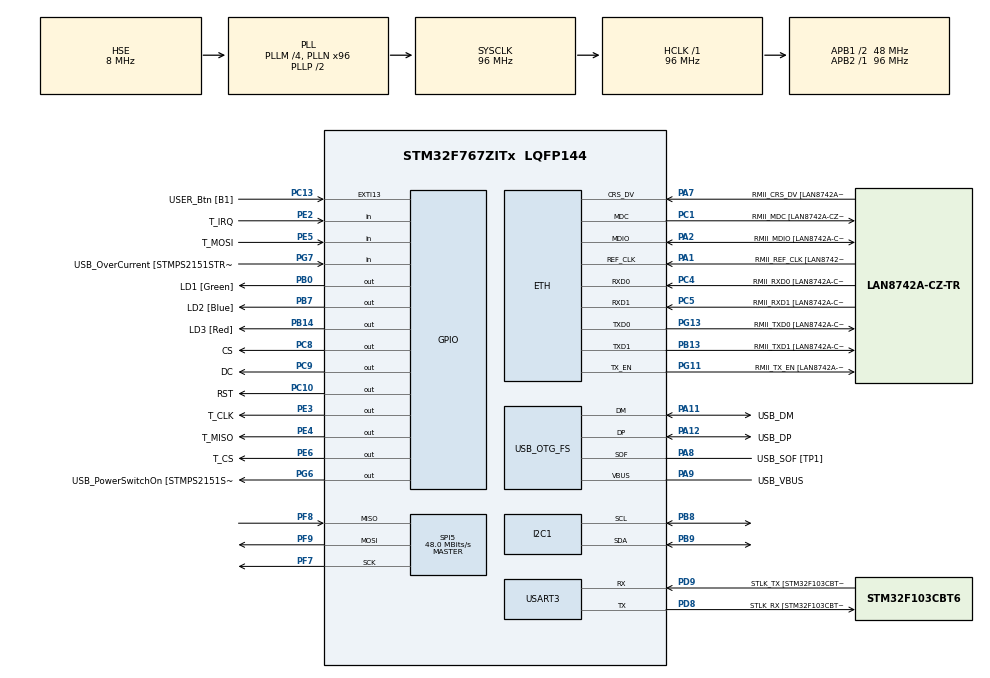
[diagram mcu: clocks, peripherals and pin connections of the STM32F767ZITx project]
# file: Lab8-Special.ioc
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CORTEX_M7.ART_ACCELERATOR_ENABLE=1
CORTEX_M7.CPU_DCache=Enabled
CORTEX_M7.CPU_ICache=Enabled
CORTEX_M7.PREFETCH_ENABLE=1
ETH.MediaInterface=HAL_ETH_RMII_MODE
ETH.PHY_Name=LAN8742A_PHY_ADDRESS
ETH.PHY_Value=0
ETH.PhyAddress=0
I2C1.Timing=0x20303E5D
Mcu.Family=STM32F7
Mcu.Name=STM32F767ZITx
Mcu.Package=LQFP144
NVIC.PriorityGroup=NVIC_PRIORITYGROUP_3
NVIC.TIM2_IRQn=true\:1\:0\:true\:false\:true\:true\:true\:true
PA1.GPIO_Label=RMII_REF_CLK [LAN8742A-CZ-TR_REFCLK0]
PA1.Mode=RMII
PA1.Signal=ETH_REF_CLK
PA10.GPIO_Label=USB_ID
PA10.Signal=USB_OTG_FS_ID
PA11.GPIO_Label=USB_DM
PA11.Mode=Device_Only
PA11.Signal=USB_OTG_FS_DM
PA12.GPIO_Label=USB_DP
PA12.Mode=Device_Only
PA12.Signal=USB_OTG_FS_DP
PA13.GPIO_Label=TMS
PA13.Mode=Serial_Wire
PA13.Signal=SYS_JTMS-SWDIO
PA14.GPIO_Label=TCK
PA14.Mode=Serial_Wire
PA14.Signal=SYS_JTCK-SWCLK
PA2.GPIO_Label=RMII_MDIO [LAN8742A-CZ-TR_MDIO]
PA2.Mode=RMII
PA2.Signal=ETH_MDIO
PA6.Signal=ADCx_IN6
PA7.GPIO_Label=RMII_CRS_DV [LAN8742A-CZ-TR_CRS_DV]
PA7.Mode=RMII
PA7.Signal=ETH_CRS_DV
PA8.GPIO_Label=USB_SOF [TP1]
PA8.Mode=Activate_SOF_FS
PA8.Signal=USB_OTG_FS_SOF
PA9.GPIO_Label=USB_VBUS
PA9.Mode=Activate_VBUS
PA9.Signal=USB_OTG_FS_VBUS
PB0.GPIO_Label=LD1 [Green]
PB0.Signal=GPIO_Output
PB13.GPIO_Label=RMII_TXD1 [LAN8742A-CZ-TR_TXD1]
PB13.Mode=RMII
PB13.Signal=ETH_TXD1
PB14.GPIO_Label=LD3 [Red]
PB14.Signal=GPIO_Output
PB3.GPIO_Label=SWO
PB3.Signal=SYS_JTDO-SWO
PB7.GPIO_Label=LD2 [Blue]
PB7.Signal=GPIO_Output
PB8.Mode=I2C
PB8.Signal=I2C1_SCL
PB9.Mode=I2C
PB9.Signal=I2C1_SDA
PC1.GPIO_Label=RMII_MDC [LAN8742A-CZ-TR_MDC]
PC1.Mode=RMII
PC1.Signal=ETH_MDC
PC10.GPIO_Label=RST
PC10.Signal=GPIO_Output
PC13.GPIO_Label=USER_Btn [B1]
PC13.Signal=GPXTI13
PC14/OSC32_IN.Mode=LSE-External-Oscillator
PC14/OSC32_IN.Signal=RCC_OSC32_IN
PC15/OSC32_OUT.Mode=LSE-External-Oscillator
PC15/OSC32_OUT.Signal=RCC_OSC32_OUT
PC4.GPIO_Label=RMII_RXD0 [LAN8742A-CZ-TR_RXD0]
PC4.Mode=RMII
PC4.Signal=ETH_RXD0
PC5.GPIO_Label=RMII_RXD1 [LAN8742A-CZ-TR_RXD1]
PC5.Mode=RMII
PC5.Signal=ETH_RXD1
PC8.GPIO_Label=CS
PC8.Signal=GPIO_Output
PC9.GPIO_Label=DC
PC9.Signal=GPIO_Output
PD8.GPIO_Label=STLK_RX [STM32F103CBT6_PA3]
PD8.Mode=Asynchronous
PD8.Signal=USART3_TX
PD9.GPIO_Label=STLK_TX [STM32F103CBT6_PA2]
PD9.Mode=Asynchronous
PD9.Signal=USART3_RX
PE2.GPIO_Label=T_IRQ
PE2.Signal=GPIO_Input
PE3.GPIO_Label=T_CLK
PE3.Signal=GPIO_Output
PE4.GPIO_Label=T_MISO
PE4.Signal=GPIO_Output
PE5.GPIO_Label=T_MOSI
PE5.Signal=GPIO_Input
PE6.GPIO_Label=T_CS
PE6.Signal=GPIO_Output
PF7.Mode=Full_Duplex_Master
PF7.Signal=SPI5_SCK
PF8.Mode=Full_Duplex_Master
PF8.Signal=SPI5_MISO
PF9.Mode=Full_Duplex_Master
PF9.Signal=SPI5_MOSI
PG11.GPIO_Label=RMII_TX_EN [LAN8742A-CZ-TR_TXEN]
PG11.Mode=RMII
PG11.Signal=ETH_TX_EN
PG13.GPIO_Label=RMII_TXD0 [LAN8742A-CZ-TR_TXD0]
PG13.Mode=RMII
PG13.Signal=ETH_TXD0
PG6.GPIO_Label=USB_PowerSwitchOn [STMPS2151STR_EN]
PG6.Signal=GPIO_Output
PG7.GPIO_Label=USB_OverCurrent [STMPS2151STR_FAULT]
PG7.Signal=GPIO_Input
PH0/OSC_IN.GPIO_Label=MCO [STM32F103CBT6_PA8]
PH0/OSC_IN.Mode=HSE-External-Clock-Source
PH0/OSC_IN.Signal=RCC_OSC_IN
PH1/OSC_OUT.Mode=HSE-External-Clock-Source
PH1/OSC_OUT.Signal=RCC_OSC_OUT
ProjectManager.HeapSize=0x200
ProjectManager.StackSize=0x400
ProjectManager.TargetToolchain=CMake
RCC.48MHZClocksFreq_Value=24000000
RCC.AHBFreq_Value=96000000
RCC.APB1CLKDivider=RCC_HCLK_DIV2
RCC.APB1Freq_Value=48000000
RCC.APB1TimFreq_Value=96000000
RCC.APB2Freq_Value=96000000
RCC.APB2TimFreq_Value=96000000
RCC.CortexFreq_Value=96000000
RCC.HCLKFreq_Value=96000000
RCC.HSE_VALUE=8000000
RCC.HSI_VALUE=16000000
RCC.PLLM=4
RCC.PLLMUL=RCC_PLL_MUL9
RCC.PLLN=96
RCC.PLLQ=4
RCC.PRESCALERUSB=RCC_USBCLKSOURCE_PLL_DIV1_5
RCC.SYSCLKFreq_VALUE=96000000
RCC.SYSCLKSource=RCC_SYSCLKSOURCE_PLLCLK
RCC.SYSCLKSourceVirtual=RCC_SYSCLKSOURCE_PLLCLK
RCC.USBFreq_Value=48000000
RCC.VCOOutputFreq_Value=192000000
SH.ADCx_IN6.0=ADC1_IN6
SPI5.CalculateBaudRate=48.0 MBits/s
SPI5.DataSize=SPI_DATASIZE_8BIT
SPI5.Direction=SPI_DIRECTION_2LINES
SPI5.Mode=SPI_MODE_MASTER
SPI5.NSSPMode=SPI_NSS_PULSE_DISABLE
SPI5.VirtualType=VM_MASTER
TIM1.ClockDivision=TIM_CLOCKDIVISION_DIV2
TIM1.Period=0
TIM1.Prescaler=10000-1
TIM2.AutoReloadPreload=TIM_AUTORELOAD_PRELOAD_ENABLE
TIM2.Period=5000000-1
TIM2.Prescaler=108-1
USART3.VirtualMode-Asynchronous=VM_ASYNC
USB_OTG_FS.VirtualMode=Device_Only
VP_RNG_VS_RNG.Mode=RNG_Activate
VP_TIM1_VS_ClockSourceINT.Mode=Internal
VP_TIM2_VS_ClockSourceINT.Mode=Internal
board=NUCLEO-F767ZI

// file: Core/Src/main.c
/* USER CODE BEGIN Header */
/**
 ******************************************************************************
 * @file           : main.c
 * @brief          : Main program body
 ******************************************************************************
 * @attention
 *
 * Copyright (c) 2025 STMicroelectronics.
 * All rights reserved.
 *
 * This software is licensed under terms that can be found in the LICENSE file
 * in the root directory of this software component.
 * If no LICENSE file comes with this software, it is provided AS-IS.
 *
 ******************************************************************************
 */
/* USER CODE END Header */
#include "main.h"
#include "string.h"

/* USER CODE BEGIN Includes */

#include <stdint.h>
#include <stdio.h>
#include <string.h>

#include "ILI9341_GFX.h"
#include "ILI9341_STM32_Driver.h"
#include "ILI9341_Touchscreen.h"

#include "image.h"

/* USER CODE END Includes */

/* USER CODE BEGIN PD */

#define LIGHT_RED 0b1111110011010011
#define LIGHT_GREEN 0b1001111111110011
#define LIGHT_BLUE 0b1001110011011111

#define ADC1_VALUES_COUNT 1

/* USER CODE END PD */

#if defined ( __ICCARM__ ) /*!< IAR Compiler */
#pragma location=0x2007c000
ETH_DMADescTypeDef  DMARxDscrTab[ETH_RX_DESC_CNT]; /* Ethernet Rx DMA Descriptors */
#pragma location=0x2007c0a0
ETH_DMADescTypeDef  DMATxDscrTab[ETH_TX_DESC_CNT]; /* Ethernet Tx DMA Descriptors */

#elif defined ( __CC_ARM )  /* MDK ARM Compiler */

__attribute__((at(0x2007c000))) ETH_DMADescTypeDef  DMARxDscrTab[ETH_RX_DESC_CNT]; /* Ethernet Rx DMA Descriptors */
__attribute__((at(0x2007c0a0))) ETH_DMADescTypeDef  DMATxDscrTab[ETH_TX_DESC_CNT]; /* Ethernet Tx DMA Descriptors */

#elif defined ( __GNUC__ ) /* GNU Compiler */

ETH_DMADescTypeDef DMARxDscrTab[ETH_RX_DESC_CNT] __attribute__((section(".RxDecripSection"))); /* Ethernet Rx DMA Descriptors */
ETH_DMADescTypeDef DMATxDscrTab[ETH_TX_DESC_CNT] __attribute__((section(".TxDecripSection")));   /* Ethernet Tx DMA Descriptors */
#endif

ETH_TxPacketConfig TxConfig;

ETH_HandleTypeDef heth;

I2C_HandleTypeDef hi2c1;

RNG_HandleTypeDef hrng;

SPI_HandleTypeDef hspi5;

TIM_HandleTypeDef htim1;
TIM_HandleTypeDef htim2;

UART_HandleTypeDef huart3;

PCD_HandleTypeDef hpcd_USB_OTG_FS;

/* USER CODE BEGIN PV */

uint16_t posX = 0;
uint16_t posY = 0;
uint16_t position_array[2];

float redSaturation = 0;
float greenSaturation = 0;
float blueSaturation = 0;
uint16_t mixedColor = 0x0000;

uint8_t redValue = 0;
uint8_t greenValue = 0;
uint8_t blueValue = 0;

char temperaturePattern[] = "%.1fC";
char relHumidityPattern[] = "%.1f%%RH";
char saturationPattern[] = "%03d%%";
char temperatureBuffer[32] = "\0";
char relHumidityBuffer[32] = "\0";
char redSaturationBuffer[32] = "\0";
char greenSaturationBuffer[32] = "\0";
char blueSaturationBuffer[32] = "\0";

float h = 99;
float t = 99;
float hPrev = 0;
float tPrev = 0;
uint8_t cmd_buffer[3];
uint8_t data_buffer[8];
char environmentStringBuffer[64] = "\0";

uint8_t screen = 0;

char infoScreenLine1[] = "Group #38";
char infoScreenLine2[] = "Phuwit";
char infoScreenLine3[] = "Puthipairoj";
char infoScreenLine4[] = "66010648";

uint32_t adc1Values[ADC1_VALUES_COUNT];

float brightness;

/* USER CODE END PV */

void SystemClock_Config(void);
static void MX_GPIO_Init(void);
static void MX_ETH_Init(void);
static void MX_RNG_Init(void);
static void MX_SPI5_Init(void);
static void MX_TIM1_Init(void);
static void MX_USART3_UART_Init(void);
static void MX_USB_OTG_FS_PCD_Init(void);
static void MX_I2C1_Init(void);
static void MX_TIM2_Init(void);

/* USER CODE BEGIN 0 */

void mixColor() {
  redValue = 0b11111;
  greenValue = 0b111111;
  blueValue = 0b11111;

  redValue = (uint8_t)(redValue * redSaturation);
  greenValue = (uint8_t)(greenValue * greenSaturation);
  blueValue = (uint8_t)(blueValue * blueSaturation);

  mixedColor = (uint16_t)(blueValue);
  mixedColor |= (greenValue << 5);
  mixedColor |= (redValue << 11);
}

uint16_t CRC16_2(uint8_t *ptr, uint8_t length) {
  uint16_t crc = 0xFFFF;
  uint8_t s = 0x00;

  while (length--) {
    crc ^= *ptr++;
    for (s = 0; s < 8; s++) {
      if ((crc & 0x01) != 0) {
        crc >>= 1;
        crc ^= 0xA001;
      } else
        crc >>= 1;
    }
  }

  return crc;
}

void initializeScreen0() {
  ILI9341_Fill_Screen(WHITE);

  ILI9341_Set_Rotation(SCREEN_HORIZONTAL_1);

  ILI9341_Draw_Filled_Circle(120, 48, 24, mixedColor);

  ILI9341_Draw_Filled_Circle(32, 112, 20, RED);
  ILI9341_Draw_Filled_Circle(32, 112 + 48, 20, GREEN);
  ILI9341_Draw_Filled_Circle(32, 112 + (48 * 2), 20, BLUE);

  ILI9341_Draw_Rectangle(64, 188, 100, 40, LIGHT_BLUE);
  ILI9341_Draw_Rectangle(64, 188, (uint16_t)(100 * blueSaturation), 40, BLUE);
  ILI9341_Draw_Rectangle(64, 140, 100, 40, LIGHT_GREEN);
  ILI9341_Draw_Rectangle(64, 140, (uint16_t)(100 * greenSaturation), 40, GREEN);
  ILI9341_Draw_Rectangle(64, 92, 100, 40, LIGHT_RED);
  ILI9341_Draw_Rectangle(64, 92, (uint16_t)(100 * redSaturation), 40, RED);
  sprintf(blueSaturationBuffer, saturationPattern,
          (uint8_t)(blueSaturation * 100));
  ILI9341_Draw_Text(blueSaturationBuffer, 180, 196, BLACK, 2, WHITE);
  sprintf(greenSaturationBuffer, saturationPattern,
          (uint8_t)(greenSaturation * 100));
  ILI9341_Draw_Text(greenSaturationBuffer, 180, 148, BLACK, 2, WHITE);
  sprintf(redSaturationBuffer, saturationPattern,
          (uint8_t)(redSaturation * 100));
  ILI9341_Draw_Text(redSaturationBuffer, 180, 100, BLACK, 2, WHITE);
}

// void updateBrightness() {
//   brightness =
//       (((float)adc1Values[0] / (float)(uint32_t)0x00000fff) * 0.8f) + 0.2f;

//   htim3.Instance->CCR1 = (10000 - 1) * brightness;
// }
/* USER CODE END 0 */

int main(void)
{

  /* Enable the CPU Cache */

  /* Enable I-Cache---------------------------------------------------------*/
  SCB_EnableICache();

  /* Enable D-Cache---------------------------------------------------------*/
  SCB_EnableDCache();

  /* MCU Configuration--------------------------------------------------------*/

  /* Reset of all peripherals, Initializes the Flash interface and the Systick. */
  HAL_Init();

  /* Configure the system clock */
  SystemClock_Config();

  /* Initialize all configured peripherals */
  MX_GPIO_Init();
  MX_ETH_Init();
  MX_RNG_Init();
  MX_SPI5_Init();
  MX_TIM1_Init();
  MX_USART3_UART_Init();
  MX_USB_OTG_FS_PCD_Init();
  MX_I2C1_Init();
  MX_TIM2_Init();
  /* USER CODE BEGIN 2 */

  // HAL_ADC_Start_DMA(&hadc1, (uint32_t *)adc1Values, ADC1_VALUES_COUNT);

  cmd_buffer[0] = 0x03;
  cmd_buffer[1] = 0x00;
  cmd_buffer[2] = 0x04;

  ILI9341_Init(); // initial driver setup to drive ili9341

  initializeScreen0();

  /* USER CODE END 2 */

  /* Infinite loop */
  while (1) {

    /* USER CODE BEGIN 3 */

    if (screen == 0) {
      //	  HAL_Delay(5000);
      HAL_I2C_Master_Transmit(&hi2c1, 0x5c << 1, cmd_buffer, 3, 200);
      //	  HAL_Delay(5);
      HAL_I2C_Master_Transmit(&hi2c1, 0x5c << 1, cmd_buffer, 3, 200);
      HAL_Delay(5);
      HAL_I2C_Master_Receive(&hi2c1, 0x5c << 1, data_buffer, 8, 200);
      uint16_t Rcrc = data_buffer[7] << 8;
      Rcrc += data_buffer[6];

      hPrev = h;
      tPrev = t;

      if (Rcrc == CRC16_2(data_buffer, 6)) {
        uint16_t temperature = ((data_buffer[4] & 0x7F) << 8) + data_buffer[5];
        t = temperature / 10.0;
        t = (((data_buffer[4] & 0x80) >> 7) == 1) ? (t * (-1)) : t;
        uint16_t humidity = (data_buffer[2] << 8) + data_buffer[3];
        h = humidity / 10.0;
      }

      // sprintf(environmentStringBuffer,
      //         "Temperature = %4.1f\tHumidity = %4.1f\n\r", t, h);
      // HAL_UART_Transmit(&huart3, (uint8_t *)environmentStringBuffer,
      //                   strlen(environmentStringBuffer), 200);
      // sprintf(environmentStringBuffer, "raw data: ");
      // for (int i = 0; i < 8; i++) {
      //   char byteStr[6];
      //   sprintf(byteStr, "%02X ", data_buffer[i]);
      //   strcat(environmentStringBuffer, byteStr);
      // }
      // strcat(environmentStringBuffer, "\n\r");
      // HAL_UART_Transmit(&huart3, (uint8_t *)environmentStringBuffer,
      //                   strlen(environmentStringBuffer), 200);

      ILI9341_Set_Rotation(SCREEN_HORIZONTAL_1);
      if (tPrev != t) {
        sprintf(temperatureBuffer, temperaturePattern, (float)t);
        ILI9341_Draw_Text(temperatureBuffer, 16, 40, BLACK, 2, WHITE);
      }
      if (hPrev != h) {
        sprintf(relHumidityBuffer, relHumidityPattern, (float)h);
        ILI9341_Draw_Text(relHumidityBuffer, 160, 40, BLACK, 2, WHITE);
      }

      ILI9341_Set_Rotation(SCREEN_VERTICAL_1);
      if (TP_Touchpad_Pressed()) {
        if (TP_Read_Coordinates(position_array) == TOUCHPAD_DATA_OK) {
          posX = position_array[0];
          posY = position_array[1];

          // ILI9341_Set_Rotation(SCREEN_HORIZONTAL_1);
          // char counter_buff[30];
          // sprintf(counter_buff, "POS X: %.3d", posX);
          // ILI9341_Draw_Text(counter_buff, 10, 0, BLACK, 2, WHITE);
          // sprintf(counter_buff, "POS Y: %.3d", posY);
          // ILI9341_Draw_Text(counter_buff, 10, 16, BLACK, 2, WHITE);
          // ILI9341_Set_Rotation(SCREEN_VERTICAL_1);

          ILI9341_Set_Rotation(SCREEN_HORIZONTAL_1);
          if ((posX >= 12 && posX <= 52) && (posY >= 16 && posY <= 56)) {
            blueSaturation += 0.1;
            if (blueSaturation > 1.01)
              blueSaturation = 0;
            sprintf(blueSaturationBuffer, saturationPattern,
                    (uint8_t)(blueSaturation * 100));
            ILI9341_Draw_Rectangle(64, 188, 100, 40, LIGHT_BLUE);
            ILI9341_Draw_Rectangle(64, 188, (uint16_t)(100 * blueSaturation),
                                   40, BLUE);
            ILI9341_Draw_Text(blueSaturationBuffer, 180, 196, BLACK, 2, WHITE);
          }
          if ((posX >= 60 && posX <= 100) && (posY >= 16 && posY <= 56)) {
            greenSaturation += 0.1;
            if (greenSaturation > 1.01)
              greenSaturation = 0;
            sprintf(greenSaturationBuffer, saturationPattern,
                    (uint8_t)(greenSaturation * 100));
            ILI9341_Draw_Rectangle(64, 140, 100, 40, LIGHT_GREEN);
            ILI9341_Draw_Rectangle(64, 140, (uint16_t)(100 * greenSaturation),
                                   40, GREEN);
            ILI9341_Draw_Text(greenSaturationBuffer, 180, 148, BLACK, 2, WHITE);
          }
          if ((posX >= 110 && posX <= 150) && (posY >= 16 && posY <= 56)) {
            redSaturation += 0.1;
            if (redSaturation > 1.01)
              redSaturation = 0;
            sprintf(redSaturationBuffer, saturationPattern,
                    (uint8_t)(redSaturation * 100));
            ILI9341_Draw_Rectangle(64, 92, 100, 40, LIGHT_RED);
            ILI9341_Draw_Rectangle(64, 92, (uint16_t)(100 * redSaturation), 40,
                                   RED);
            ILI9341_Draw_Text(redSaturationBuffer, 180, 100, BLACK, 2, WHITE);
          }
          if ((posX >= 172 && posX <= 220) && (posY >= 96 && posY <= 144)) {
            screen = 1;
            continue;
          }

          mixColor();
          ILI9341_Draw_Filled_Circle(120, 48, 24, mixedColor);
        }
      }

    } else if (screen == 1) {
      ILI9341_Set_Rotation(SCREEN_HORIZONTAL_1);

      ILI9341_Draw_Image(CHILL_GUY, SCREEN_HORIZONTAL_1);

      ILI9341_Draw_Text(infoScreenLine1, 144, 64 + (32 * 0), mixedColor, 2,
                        WHITE);
      ILI9341_Draw_Text(infoScreenLine2, 144, 64 + (32 * 1), mixedColor, 2,
                        WHITE);
      ILI9341_Draw_Text(infoScreenLine3, 144, 64 + (32 * 2), mixedColor, 2,
                        WHITE);
      ILI9341_Draw_Text(infoScreenLine4, 144, 64 + (32 * 3), mixedColor, 2,
                        WHITE);

      HAL_TIM_Base_Start_IT(&htim2);

      while (screen == 1) {
        if (TP_Read_Coordinates(position_array) == TOUCHPAD_DATA_OK) {
          posX = position_array[0];
          posY = position_array[1];

          // ILI9341_Set_Rotation(SCREEN_HORIZONTAL_1);
          // char counter_buff[30];
          // sprintf(counter_buff, "POS X: %.3d", posX);
          // ILI9341_Draw_Text(counter_buff, 10, 0, BLACK, 2, WHITE);
          // sprintf(counter_buff, "POS Y: %.3d", posY);
          // ILI9341_Draw_Text(counter_buff, 10, 16, BLACK, 2, WHITE);
          // ILI9341_Set_Rotation(SCREEN_VERTICAL_1);

          if ((posX >= 28 && posX <= 226) && (posY >= 16 && posY <= 134)) {
            screen = 0;
            initializeScreen0();
            break;
          }
        }
      }

      // screen = 0;
      // initializeScreen0();
    }

    // HAL_Delay(200);
  }
  /* USER CODE END 3 */
}

void SystemClock_Config(void)
{
  RCC_OscInitTypeDef RCC_OscInitStruct = {0};
  RCC_ClkInitTypeDef RCC_ClkInitStruct = {0};

  /** Configure LSE Drive Capability
  */
  HAL_PWR_EnableBkUpAccess();

  /** Configure the main internal regulator output voltage
  */
  __HAL_RCC_PWR_CLK_ENABLE();
  __HAL_PWR_VOLTAGESCALING_CONFIG(PWR_REGULATOR_VOLTAGE_SCALE3);

  /** Initializes the RCC Oscillators according to the specified parameters
  * in the RCC_OscInitTypeDef structure.
  */
  RCC_OscInitStruct.OscillatorType = RCC_OSCILLATORTYPE_HSE;
  RCC_OscInitStruct.HSEState = RCC_HSE_BYPASS;
  RCC_OscInitStruct.PLL.PLLState = RCC_PLL_ON;
  RCC_OscInitStruct.PLL.PLLSource = RCC_PLLSOURCE_HSE;
  RCC_OscInitStruct.PLL.PLLM = 4;
  RCC_OscInitStruct.PLL.PLLN = 96;
  RCC_OscInitStruct.PLL.PLLP = RCC_PLLP_DIV2;
  RCC_OscInitStruct.PLL.PLLQ = 4;
  RCC_OscInitStruct.PLL.PLLR = 2;
  if (HAL_RCC_OscConfig(&RCC_OscInitStruct) != HAL_OK)
  {
    Error_Handler();
  }

  /** Activate the Over-Drive mode
  */
  if (HAL_PWREx_EnableOverDrive() != HAL_OK)
  {
    Error_Handler();
  }

  /** Initializes the CPU, AHB and APB buses clocks
  */
  RCC_ClkInitStruct.ClockType = RCC_CLOCKTYPE_HCLK|RCC_CLOCKTYPE_SYSCLK
                              |RCC_CLOCKTYPE_PCLK1|RCC_CLOCKTYPE_PCLK2;
  RCC_ClkInitStruct.SYSCLKSource = RCC_SYSCLKSOURCE_PLLCLK;
  RCC_ClkInitStruct.AHBCLKDivider = RCC_SYSCLK_DIV1;
  RCC_ClkInitStruct.APB1CLKDivider = RCC_HCLK_DIV2;
  RCC_ClkInitStruct.APB2CLKDivider = RCC_HCLK_DIV1;

  if (HAL_RCC_ClockConfig(&RCC_ClkInitStruct, FLASH_LATENCY_3) != HAL_OK)
  {
    Error_Handler();
  }
}

static void MX_ETH_Init(void)
{

   static uint8_t MACAddr[6];

  heth.Instance = ETH;
  MACAddr[0] = 0x00;
  MACAddr[1] = 0x80;
  MACAddr[2] = 0xE1;
  MACAddr[3] = 0x00;
  MACAddr[4] = 0x00;
  MACAddr[5] = 0x00;
  heth.Init.MACAddr = &MACAddr[0];
  heth.Init.MediaInterface = HAL_ETH_RMII_MODE;
  heth.Init.TxDesc = DMATxDscrTab;
  heth.Init.RxDesc = DMARxDscrTab;
  heth.Init.RxBuffLen = 1524;

  if (HAL_ETH_Init(&heth) != HAL_OK)
  {
    Error_Handler();
  }

  memset(&TxConfig, 0 , sizeof(ETH_TxPacketConfig));
  TxConfig.Attributes = ETH_TX_PACKETS_FEATURES_CSUM | ETH_TX_PACKETS_FEATURES_CRCPAD;
  TxConfig.ChecksumCtrl = ETH_CHECKSUM_IPHDR_PAYLOAD_INSERT_PHDR_CALC;
  TxConfig.CRCPadCtrl = ETH_CRC_PAD_INSERT;

}

static void MX_I2C1_Init(void)
{

  hi2c1.Instance = I2C1;
  hi2c1.Init.Timing = 0x20303E5D;
  hi2c1.Init.OwnAddress1 = 0;
  hi2c1.Init.AddressingMode = I2C_ADDRESSINGMODE_7BIT;
  hi2c1.Init.DualAddressMode = I2C_DUALADDRESS_DISABLE;
  hi2c1.Init.OwnAddress2 = 0;
  hi2c1.Init.OwnAddress2Masks = I2C_OA2_NOMASK;
  hi2c1.Init.GeneralCallMode = I2C_GENERALCALL_DISABLE;
  hi2c1.Init.NoStretchMode = I2C_NOSTRETCH_DISABLE;
  if (HAL_I2C_Init(&hi2c1) != HAL_OK)
  {
    Error_Handler();
  }

  /** Configure Analogue filter
  */
  if (HAL_I2CEx_ConfigAnalogFilter(&hi2c1, I2C_ANALOGFILTER_ENABLE) != HAL_OK)
  {
    Error_Handler();
  }

  /** Configure Digital filter
  */
  if (HAL_I2CEx_ConfigDigitalFilter(&hi2c1, 0) != HAL_OK)
  {
    Error_Handler();
  }

}

static void MX_RNG_Init(void)
{

  hrng.Instance = RNG;
  if (HAL_RNG_Init(&hrng) != HAL_OK)
  {
    Error_Handler();
  }

}

static void MX_SPI5_Init(void)
{

  /* SPI5 parameter configuration*/
  hspi5.Instance = SPI5;
  hspi5.Init.Mode = SPI_MODE_MASTER;
  hspi5.Init.Direction = SPI_DIRECTION_2LINES;
  hspi5.Init.DataSize = SPI_DATASIZE_8BIT;
  hspi5.Init.CLKPolarity = SPI_POLARITY_LOW;
  hspi5.Init.CLKPhase = SPI_PHASE_1EDGE;
  hspi5.Init.NSS = SPI_NSS_SOFT;
  hspi5.Init.BaudRatePrescaler = SPI_BAUDRATEPRESCALER_2;
  hspi5.Init.FirstBit = SPI_FIRSTBIT_MSB;
  hspi5.Init.TIMode = SPI_TIMODE_DISABLE;
  hspi5.Init.CRCCalculation = SPI_CRCCALCULATION_DISABLE;
  hspi5.Init.CRCPolynomial = 7;
  hspi5.Init.CRCLength = SPI_CRC_LENGTH_DATASIZE;
  hspi5.Init.NSSPMode = SPI_NSS_PULSE_DISABLE;
  if (HAL_SPI_Init(&hspi5) != HAL_OK)
  {
    Error_Handler();
  }

}

static void MX_TIM1_Init(void)
{

  TIM_ClockConfigTypeDef sClockSourceConfig = {0};
  TIM_MasterConfigTypeDef sMasterConfig = {0};

  htim1.Instance = TIM1;
  htim1.Init.Prescaler = 10000-1;
  htim1.Init.CounterMode = TIM_COUNTERMODE_UP;
  htim1.Init.Period = 0;
  htim1.Init.ClockDivision = TIM_CLOCKDIVISION_DIV2;
  htim1.Init.RepetitionCounter = 0;
  htim1.Init.AutoReloadPreload = TIM_AUTORELOAD_PRELOAD_DISABLE;
  if (HAL_TIM_Base_Init(&htim1) != HAL_OK)
  {
    Error_Handler();
  }
  sClockSourceConfig.ClockSource = TIM_CLOCKSOURCE_INTERNAL;
  if (HAL_TIM_ConfigClockSource(&htim1, &sClockSourceConfig) != HAL_OK)
  {
    Error_Handler();
  }
  sMasterConfig.MasterOutputTrigger = TIM_TRGO_RESET;
  sMasterConfig.MasterOutputTrigger2 = TIM_TRGO2_RESET;
  sMasterConfig.MasterSlaveMode = TIM_MASTERSLAVEMODE_DISABLE;
  if (HAL_TIMEx_MasterConfigSynchronization(&htim1, &sMasterConfig) != HAL_OK)
  {
    Error_Handler();
  }

}

static void MX_TIM2_Init(void)
{

  TIM_ClockConfigTypeDef sClockSourceConfig = {0};
  TIM_MasterConfigTypeDef sMasterConfig = {0};

  htim2.Instance = TIM2;
  htim2.Init.Prescaler = 108-1;
  htim2.Init.CounterMode = TIM_COUNTERMODE_UP;
  htim2.Init.Period = 5000000-1;
  htim2.Init.ClockDivision = TIM_CLOCKDIVISION_DIV1;
  htim2.Init.AutoReloadPreload = TIM_AUTORELOAD_PRELOAD_ENABLE;
  if (HAL_TIM_Base_Init(&htim2) != HAL_OK)
  {
    Error_Handler();
  }
  sClockSourceConfig.ClockSource = TIM_CLOCKSOURCE_INTERNAL;
  if (HAL_TIM_ConfigClockSource(&htim2, &sClockSourceConfig) != HAL_OK)
  {
    Error_Handler();
  }
  sMasterConfig.MasterOutputTrigger = TIM_TRGO_RESET;
  sMasterConfig.MasterSlaveMode = TIM_MASTERSLAVEMODE_DISABLE;
  if (HAL_TIMEx_MasterConfigSynchronization(&htim2, &sMasterConfig) != HAL_OK)
  {
    Error_Handler();
  }

}

static void MX_USART3_UART_Init(void)
{

  huart3.Instance = USART3;
  huart3.Init.BaudRate = 115200;
  huart3.Init.WordLength = UART_WORDLENGTH_8B;
  huart3.Init.StopBits = UART_STOPBITS_1;
  huart3.Init.Parity = UART_PARITY_NONE;
  huart3.Init.Mode = UART_MODE_TX_RX;
  huart3.Init.HwFlowCtl = UART_HWCONTROL_NONE;
  huart3.Init.OverSampling = UART_OVERSAMPLING_16;
  huart3.Init.OneBitSampling = UART_ONE_BIT_SAMPLE_DISABLE;
  huart3.AdvancedInit.AdvFeatureInit = UART_ADVFEATURE_NO_INIT;
  if (HAL_UART_Init(&huart3) != HAL_OK)
  {
    Error_Handler();
  }

}

static void MX_USB_OTG_FS_PCD_Init(void)
{

  hpcd_USB_OTG_FS.Instance = USB_OTG_FS;
  hpcd_USB_OTG_FS.Init.dev_endpoints = 6;
  hpcd_USB_OTG_FS.Init.speed = PCD_SPEED_FULL;
  hpcd_USB_OTG_FS.Init.dma_enable = DISABLE;
  hpcd_USB_OTG_FS.Init.phy_itface = PCD_PHY_EMBEDDED;
  hpcd_USB_OTG_FS.Init.Sof_enable = ENABLE;
  hpcd_USB_OTG_FS.Init.low_power_enable = DISABLE;
  hpcd_USB_OTG_FS.Init.lpm_enable = DISABLE;
  hpcd_USB_OTG_FS.Init.vbus_sensing_enable = ENABLE;
  hpcd_USB_OTG_FS.Init.use_dedicated_ep1 = DISABLE;
  if (HAL_PCD_Init(&hpcd_USB_OTG_FS) != HAL_OK)
  {
    Error_Handler();
  }

}

static void MX_GPIO_Init(void)
{
  GPIO_InitTypeDef GPIO_InitStruct = {0};

  /* GPIO Ports Clock Enable */
  __HAL_RCC_GPIOE_CLK_ENABLE();
  __HAL_RCC_GPIOC_CLK_ENABLE();
  __HAL_RCC_GPIOF_CLK_ENABLE();
  __HAL_RCC_GPIOH_CLK_ENABLE();
  __HAL_RCC_GPIOA_CLK_ENABLE();
  __HAL_RCC_GPIOB_CLK_ENABLE();
  __HAL_RCC_GPIOD_CLK_ENABLE();
  __HAL_RCC_GPIOG_CLK_ENABLE();

  /*Configure GPIO pin Output Level */
  HAL_GPIO_WritePin(GPIOE, T_CLK_Pin|T_MISO_Pin|T_CS_Pin, GPIO_PIN_RESET);

  /*Configure GPIO pin Output Level */
  HAL_GPIO_WritePin(GPIOB, LD1_Pin|LD3_Pin|LD2_Pin, GPIO_PIN_RESET);

  /*Configure GPIO pin Output Level */
  HAL_GPIO_WritePin(USB_PowerSwitchOn_GPIO_Port, USB_PowerSwitchOn_Pin, GPIO_PIN_RESET);

  /*Configure GPIO pin Output Level */
  HAL_GPIO_WritePin(GPIOC, CS_Pin|DC_Pin|RST_Pin, GPIO_PIN_RESET);

  /*Configure GPIO pins : T_IRQ_Pin T_MOSI_Pin */
  GPIO_InitStruct.Pin = T_IRQ_Pin|T_MOSI_Pin;
  GPIO_InitStruct.Mode = GPIO_MODE_INPUT;
  GPIO_InitStruct.Pull = GPIO_NOPULL;
  HAL_GPIO_Init(GPIOE, &GPIO_InitStruct);

  /*Configure GPIO pins : T_CLK_Pin T_MISO_Pin T_CS_Pin */
  GPIO_InitStruct.Pin = T_CLK_Pin|T_MISO_Pin|T_CS_Pin;
  GPIO_InitStruct.Mode = GPIO_MODE_OUTPUT_PP;
  GPIO_InitStruct.Pull = GPIO_NOPULL;
  GPIO_InitStruct.Speed = GPIO_SPEED_FREQ_LOW;
  HAL_GPIO_Init(GPIOE, &GPIO_InitStruct);

  /*Configure GPIO pin : USER_Btn_Pin */
  GPIO_InitStruct.Pin = USER_Btn_Pin;
  GPIO_InitStruct.Mode = GPIO_MODE_IT_RISING;
  GPIO_InitStruct.Pull = GPIO_NOPULL;
  HAL_GPIO_Init(USER_Btn_GPIO_Port, &GPIO_InitStruct);

  /*Configure GPIO pin : PA6 */
  GPIO_InitStruct.Pin = GPIO_PIN_6;
  GPIO_InitStruct.Mode = GPIO_MODE_ANALOG;
  GPIO_InitStruct.Pull = GPIO_NOPULL;
  HAL_GPIO_Init(GPIOA, &GPIO_InitStruct);

  /*Configure GPIO pins : LD1_Pin LD3_Pin LD2_Pin */
  GPIO_InitStruct.Pin = LD1_Pin|LD3_Pin|LD2_Pin;
  GPIO_InitStruct.Mode = GPIO_MODE_OUTPUT_PP;
  GPIO_InitStruct.Pull = GPIO_NOPULL;
  GPIO_InitStruct.Speed = GPIO_SPEED_FREQ_LOW;
  HAL_GPIO_Init(GPIOB, &GPIO_InitStruct);

  /*Configure GPIO pin : USB_PowerSwitchOn_Pin */
  GPIO_InitStruct.Pin = USB_PowerSwitchOn_Pin;
  GPIO_InitStruct.Mode = GPIO_MODE_OUTPUT_PP;
  GPIO_InitStruct.Pull = GPIO_NOPULL;
  GPIO_InitStruct.Speed = GPIO_SPEED_FREQ_LOW;
  HAL_GPIO_Init(USB_PowerSwitchOn_GPIO_Port, &GPIO_InitStruct);

  /*Configure GPIO pin : USB_OverCurrent_Pin */
  GPIO_InitStruct.Pin = USB_OverCurrent_Pin;
  GPIO_InitStruct.Mode = GPIO_MODE_INPUT;
  GPIO_InitStruct.Pull = GPIO_NOPULL;
  HAL_GPIO_Init(USB_OverCurrent_GPIO_Port, &GPIO_InitStruct);

  /*Configure GPIO pins : CS_Pin DC_Pin RST_Pin */
  GPIO_InitStruct.Pin = CS_Pin|DC_Pin|RST_Pin;
  GPIO_InitStruct.Mode = GPIO_MODE_OUTPUT_PP;
  GPIO_InitStruct.Pull = GPIO_NOPULL;
  GPIO_InitStruct.Speed = GPIO_SPEED_FREQ_LOW;
  HAL_GPIO_Init(GPIOC, &GPIO_InitStruct);

}

/* USER CODE BEGIN 4 */

// void HAL_ADC_ConvCpltCallback(ADC_HandleTypeDef *hadc) { updateBrightness(); }

/* USER CODE END 4 */

void Error_Handler(void)
{
  __disable_irq();
  while (1) {
  }
}
#ifdef USE_FULL_ASSERT
/**
  * @brief  Reports the name of the source file and the source line number
  *         where the assert_param error has occurred.
  * @param  file: pointer to the source file name
  * @param  line: assert_param error line source number
  * @retval None
  */
void assert_failed(uint8_t *file, uint32_t line)
{
  /* USER CODE BEGIN 6 */
  /* User can add his own implementation to report the file name and line
     number, ex: printf("Wrong parameters value: file %s on line %d\r\n", file,
     line) */
  /* USER CODE END 6 */
}
#endif /* USE_FULL_ASSERT */
